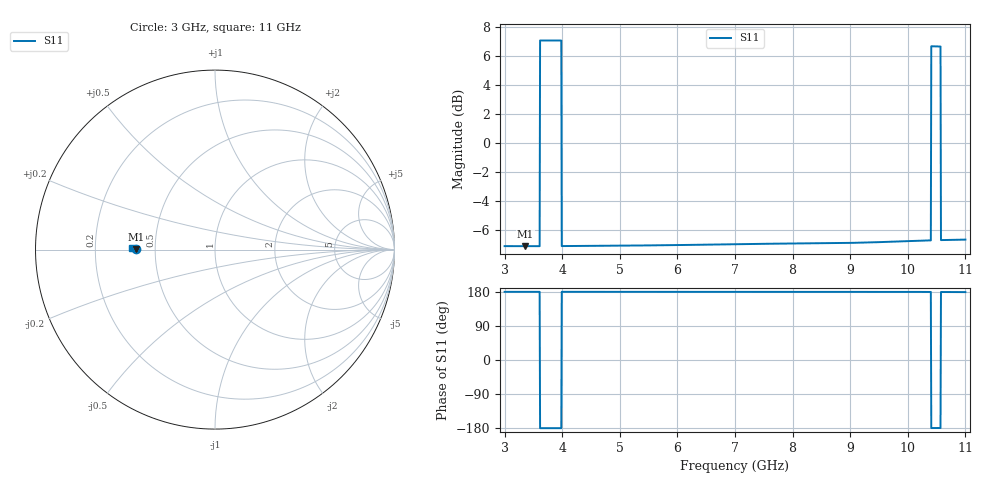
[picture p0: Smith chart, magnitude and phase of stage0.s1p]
! Stage 0 CPW sanity  openEMS
# GHz S DB R 50
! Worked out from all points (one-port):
!   1001 points, 3 GHz to 11 GHz, reference 50 ohm
!   lowest |S11| = -7.1 dB at 3.36 GHz (marker M1), VSWR 2.58, Z = 19.4 + j0.0486 ohm
!   |S11| at or under -10 dB: nowhere
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3  -7.10 179.9
3.36  -7.10 179.9
3.568  -7.10 179.9
3.656  7.10 -179.9
3.944  7.09 -179.9
4  -7.09 179.9
4.032  -7.09 179.9
5  -7.07 179.9
5.536  -7.05 179.9
6  -7.02 180.0
6.512  -6.99 179.9
7  -6.96 179.9
7.488  -6.94 179.8
8  -6.92 179.7
8.296  -6.91 179.7
8.592  -6.90 179.7
9  -6.87 179.8
9.272  -6.85 179.8
9.56  -6.81 179.8
9.784  -6.78 179.8
10  -6.75 179.7
10.36  -6.71 179.6
10.4  -6.70 179.6
10.448  6.69 -179.5
10.528  6.69 -179.5
10.568  6.68 -179.4
10.616  -6.68 179.4
11  -6.65 179.2
